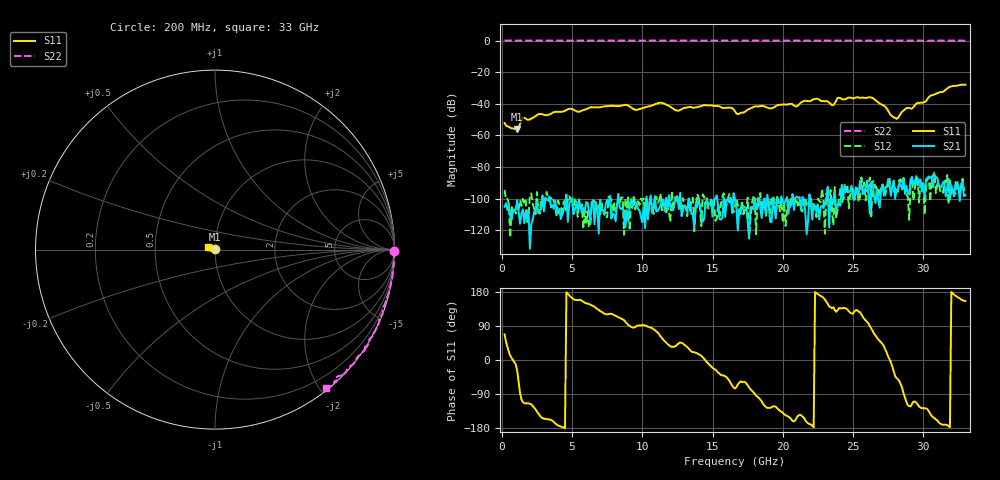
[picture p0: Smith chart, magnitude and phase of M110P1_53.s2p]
# GHZ S RI R 50
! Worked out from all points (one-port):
!   329 points, 200 MHz to 33 GHz, reference 50 ohm
!   lowest |S11| = -55.9 dB at 1.1 GHz (marker M1), VSWR 1.00, Z = 50.1 - j0.0767 ohm
!   |S11| at or under -10 dB: start of sweep to end of sweep
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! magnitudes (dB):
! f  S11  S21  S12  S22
! 200 MHz  -52.1  -105.0  -94.4  0.0
! 1.1 GHz  -55.9  -100.9  -108.8  0.0
! 1.5 GHz  -48.7  -106.7  -100.1  0.0
! 4.8 GHz  -43.1  -103.5  -97.9  0.0
! 5.7 GHz  -44.3  -108.8  -103.6  0.0
! 8.8 GHz  -40.6  -118.0  -100.2  0.0
! 9.6 GHz  -43.8  -102.9  -103.0  0.0
! 11.2 GHz  -39.4  -106.3  -101.1  0.0
! 12.5 GHz  -44.3  -98.3  -101.7  0.0
! 14.5 GHz  -40.8  -103.2  -105.9  0.0
! 16.6 GHz  -44.8  -100.2  -105.0  0.0
! 18.5 GHz  -41.3  -112.2  -106.9  0.0
! 21 GHz  -41.7  -98.6  -101.5  0.0
! 22.1 GHz  -37.5  -113.0  -105.8  0.0
! 23.5 GHz  -40.9  -103.6  -106.0  -0.1
! 23.9 GHz  -36.3  -104.6  -106.8  0.0
! 26.3 GHz  -36.0  -89.4  -111.1  0.0
! 27.6 GHz  -46.0  -90.6  -86.5  0.0
! 28.1 GHz  -49.5  -94.5  -96.1  0.0
! 28.8 GHz  -42.8  -91.8  -97.3  0.0
! 30.5 GHz  -35.0  -86.4  -101.6  -0.1
! 33 GHz  -27.9  -97.8  -94.4  -0.1
